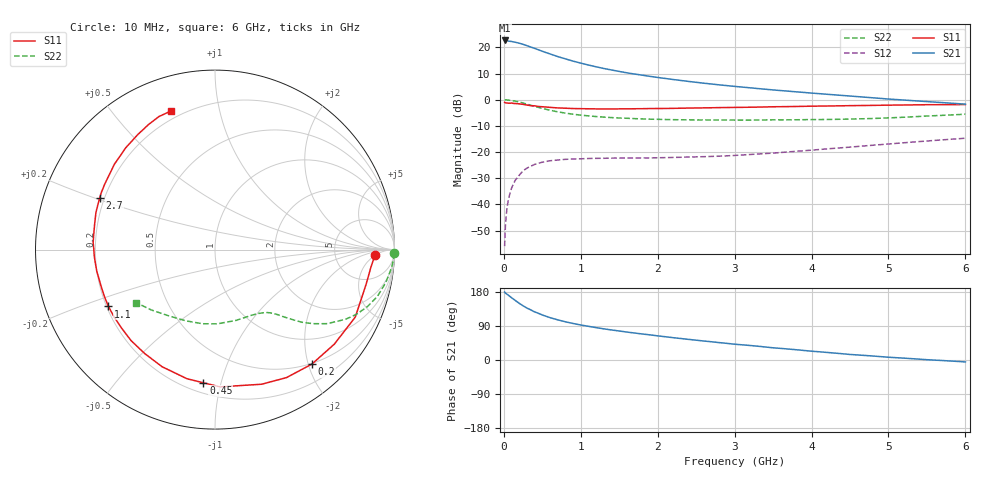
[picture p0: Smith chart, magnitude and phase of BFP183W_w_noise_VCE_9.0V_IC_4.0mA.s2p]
! Infineon Technologies  Discrete & RF Semiconductors
! BFP183W
! VCE =  9.0 V,  IC =  4.0 mA
! Common Emitter S-Parameters:  Jan 2017
# GHz  S  MA  R  50
!  f  S11  S21  S12  S22
! GHz  MAG  ANG  MAG  ANG  MAG  ANG  MAG  ANG
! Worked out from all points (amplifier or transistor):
!   77 points, 10 MHz to 6 GHz, reference 50 ohm
!   highest |S21| = 22.7 dB at 10 MHz (marker M1)
!   |S21| within 3 dB of that: start of sweep to 398.2 MHz
!   unconditionally stable (mu >= 1): 2.416 GHz to 4.349 GHz
!   at 130 MHz: K = 0.06, MSG = 27.0 dB, |S12| = -31.8 dB
!   at 2.2 GHz: K = 0.96, MSG = 14.9 dB, |S12| = -22.0 dB
!   at 6 GHz: K = 0.78, MSG = 6.5 dB, |S12| = -14.7 dB
!   lowest NFmin = 0.73 dB at 450 MHz
!   S11 on the Smith chart (normalised r, x): 10 MHz: 16, -5; 200 MHz: 0.49, -2.06; 450 MHz: 0.26, -0.88; 1.1 GHz: 0.21, -0.24; 2.7 GHz: 0.18, +0.21; 6 GHz: 0.16, +0.72
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0.01  0.8927 -1.8  13.57 179.3  0.0016 82.3  0.9994 -1.2
0.03  0.8697 -8.5  13.36 175.3  0.006 84.8  0.9942 -3.4
0.06  0.8612 -15.4  13.21 170.8  0.0124 79.0  0.9855 -6.6
0.1  0.8673 -25.7  12.98 164.4  0.0204 77.9  0.9692 -10.9
0.14  0.8486 -35.8  12.62 158.4  0.0274 71.8  0.9466 -15.0
0.2  0.8356 -49.8  12.02 149.6  0.0362 64.7  0.9067 -20.5
0.25  0.8169 -60.8  11.45 143.0  0.0441 59.1  0.8678 -24.5
0.3  0.7938 -70.9  10.79 137.1  0.0495 54.1  0.8254 -28.0
0.4  0.7654 -87.9  9.589 127.0  0.0583 46.7  0.7494 -33.4
0.45  0.7448 -95.0  8.995 123.2  0.0612 43.6  0.7164 -35.2
0.5  0.7361 -102.3  8.446 118.9  0.0643 40.8  0.6841 -37.1
0.6  0.7161 -114.3  7.51 111.8  0.0684 36.1  0.6311 -39.9
0.7  0.6992 -124.1  6.691 106.0  0.0707 33.1  0.5882 -41.8
0.9  0.6798 -140.0  5.469 96.4  0.0741 29.0  0.5296 -44.7
1.1  0.673 -151.9  4.607 88.9  0.0756 26.4  0.4923 -46.8
1.6  0.6707 -173.4  3.272 73.7  0.0771 25.0  0.4432 -52.6
2.1  0.6823 170.8  2.551 61.4  0.0786 27.9  0.4199 -60.3
2.7  0.7038 155.8  1.998 48.1  0.0828 33.2  0.4112 -71.7
3.1  0.7169 147.4  1.746 40.0  0.0882 37.3  0.4092 -79.7
4.1  0.757 129.7  1.308 21.7  0.1122 44.3  0.4193 -102.2
5.1  0.7918 116.9  1.01 6.1  0.1469 45.6  0.4569 -127.6
6  0.8102 107.7  0.825 -5.1  0.1842 42.4  0.5297 -146.1
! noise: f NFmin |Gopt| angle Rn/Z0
0.45  0.73  0.32  50  0.29
0.9  0.9  0.29  94  0.14
1.9  1.5  0.43  165  0.08
2.4  1.78  0.48  179  0.08
